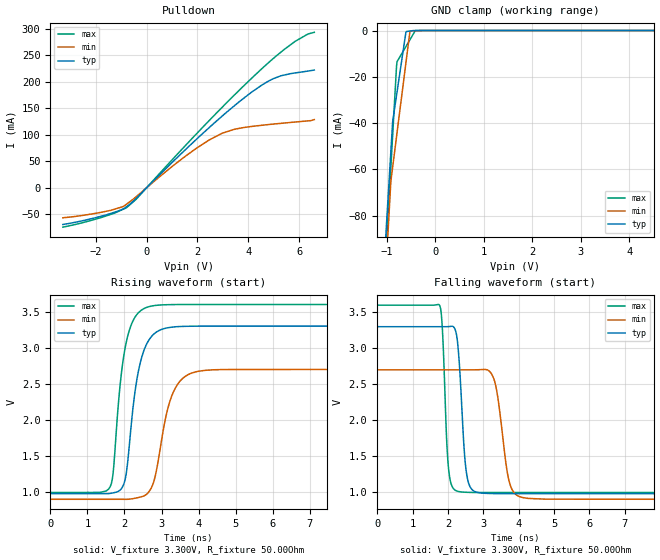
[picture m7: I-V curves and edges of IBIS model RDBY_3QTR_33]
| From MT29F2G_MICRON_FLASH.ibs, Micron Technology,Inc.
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|   MODEL RDBY_3QTR_33
[Model]   RDBY_3QTR_33
Model_type   Open_drain
Vmeas =  1.6500V
Rref = 1000
Cref = 50pF
Vref = 3.3V
|   typ   min   max
C_comp   2.89pF   2.55pF   3.27pF
[Model Spec]
| Measurement voltage corners
Vmeas   1.650V   1.3500V   1.800V
| Timing spec test load voltage corners
Vref   3.300V   2.700V   3.600V
[Voltage Range]   3.300V   2.700V   3.600V
| Junction Temperature (Ambient temp is 25C typ, 70C min, 0C max)
[Temperature Range]   40   85   0
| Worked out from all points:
|   slope of the pulldown table from 0 to 0.495 V, typ, clamps not added: 20.9 ohm
|   GND clamp passes 1 mA (typ) near -0.61 V on its own axis
|   falling waveform, V_fixture 3.300V, R_fixture 50.00Ohm: 20-80 % time 168ps typ, 281ps min, 125ps max; typ from 3.3 V to 0.977 V
|   rising waveform, V_fixture 3.300V, R_fixture 50.00Ohm: 20-80 % time 356ps typ, 436ps min, 315ps max; typ from 0.977 V to 3.3 V
[Pulldown]
|   Voltage   I(typ)   I(min)   I(max)
-3.3V     -69.59mA   -56.89mA   -74.61mA
-1.42V    -48.79mA   -42.93mA   -50.62mA
-790mV    -35.7mA    -31.02mA   -37.77mA
-410mV    -19.8mA    -16.96mA   -21.74mA
1.47V     69.33mA    57.55mA    76.8mA
2.47V     114mA      90.41mA    127.3mA
2.97V     135.2mA    102.9mA    151.9mA
4.12V     180.2mA    115.7mA    206.2mA
4.97V     205.8mA    120.2mA    243.6mA
5.85V     216.9mA    124.1mA    276.8mA
6.35V     220.5mA    126.3mA    290.5mA
6.6V      222.4mA    128.8mA    293.7mA
[GND Clamp]
|   Voltage   I(typ)   I(min)   I(max)
-3.3V     -1.139A    -1.091A    -1.18A
-1.02V    -88.14mA   -104.1mA   -97.29mA
-1.01V    -84.52mA   -100.3mA   -93.56mA
-920mV    -53.15mA   -65.93mA   -59.99mA
-880mV    -39.29mA   -58.91mA   -45.07mA
-800mV    -27.96mA   -45.74mA   -15.23mA
-790mV    -26.54mA   -44.09mA   -13.45mA
-610mV    -1.03mA    -14.45mA   -7.036mA
-600mV    -451.2uA   -12.8mA    -6.68mA
-520mV    -211.7uA   -161.6uA   -3.83mA
-410mV    -7.018uA   -92.67uA   -31.52uA
6.6V      0A         0A         0A
[POWER Clamp]
|No Power Clamp Diode
|   Voltage   I(typ)   I(min)   I(max)
-3.3V     0A         0A         0A
0V        0A         0A         0A
6.6V      0A         0A         0A
[Ramp]
R_load = 50.00Ohm
|   typ   min   max
dV/dt_r   1.394V/355.498ps   1.081V/435.366ps   1.564V/314.434ps
dV/dt_f   1.394V/168.129ps   1.081V/280.901ps   1.564V/125.105ps
[Falling Waveform]
V_fixture = 3.300V
V_fixture_min = 2.700V
V_fixture_max = 3.600V
R_fixture = 50.00Ohm
|   Time   V(typ)   V(min)   V(max)
0s        3.3V       2.7V       3.6V
1.77ns    3.3V       2.7V       3.594V
2.01ns    3.301V     2.7V       1.371V
2.23ns    3.219V     2.7V       1.019V
2.51ns    1.322V     2.7V       996.3mV
2.73ns    1.015V     2.7V       993.6mV
3.29ns    978.2mV    2.586V     992.6mV
3.71ns    976.8mV    1.194V     992.5mV
3.97ns    976.6mV    948.4mV    992.5mV
10ns      976.5mV    898mV      992.5mV
[Rising Waveform]
V_fixture = 3.300V
V_fixture_min = 2.700V
V_fixture_max = 3.600V
R_fixture = 50.00Ohm
|   Time   V(typ)   V(min)   V(max)
0s        976.5mV    898mV      992.5mV
1.61ns    978.8mV    898mV      1.067V
1.69ns    986.3mV    898mV      1.243V
2.02ns    1.176V     897.3mV    3V
2.3ns     2.443V     913.7mV    3.436V
2.52ns    2.954V     943.4mV    3.542V
2.8ns     3.193V     1.158V     3.584V
3.27ns    3.285V     2.323V     3.598V
3.74ns    3.298V     2.633V     3.6V
10ns      3.3V       2.7V       3.6V
